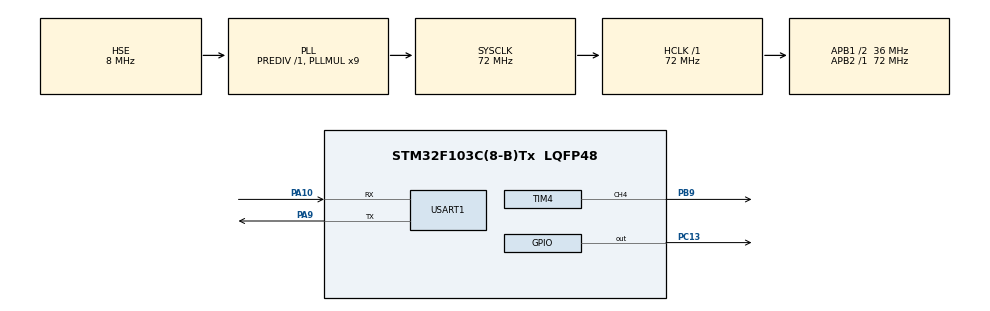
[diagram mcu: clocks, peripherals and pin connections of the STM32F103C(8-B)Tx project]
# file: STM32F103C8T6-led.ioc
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Mcu.Family=STM32F1
Mcu.Name=STM32F103C(8-B)Tx
Mcu.Package=LQFP48
NVIC.PriorityGroup=NVIC_PRIORITYGROUP_4
NVIC.USART1_IRQn=true\:0\:0\:false\:false\:true\:true\:true\:true
PA10.Mode=Asynchronous
PA10.Signal=USART1_RX
PA13.Mode=Serial_Wire
PA13.Signal=SYS_JTMS-SWDIO
PA14.Mode=Serial_Wire
PA14.Signal=SYS_JTCK-SWCLK
PA9.Mode=Asynchronous
PA9.Signal=USART1_TX
PB9.Signal=S_TIM4_CH4
PC13-TAMPER-RTC.GPIO_Speed=GPIO_SPEED_FREQ_MEDIUM
PC13-TAMPER-RTC.PinState=GPIO_PIN_SET
PC13-TAMPER-RTC.Signal=GPIO_Output
PD0-OSC_IN.Mode=HSE-External-Oscillator
PD0-OSC_IN.Signal=RCC_OSC_IN
PD1-OSC_OUT.Mode=HSE-External-Oscillator
PD1-OSC_OUT.Signal=RCC_OSC_OUT
ProjectManager.HeapSize=0x200
ProjectManager.StackSize=0x400
ProjectManager.TargetToolchain=MDK-ARM V5.32
RCC.AHBFreq_Value=72000000
RCC.APB1CLKDivider=RCC_HCLK_DIV2
RCC.APB1Freq_Value=36000000
RCC.APB1TimFreq_Value=72000000
RCC.APB2Freq_Value=72000000
RCC.APB2TimFreq_Value=72000000
RCC.HCLKFreq_Value=72000000
RCC.PLLMUL=RCC_PLL_MUL9
RCC.PLLSourceVirtual=RCC_PLLSOURCE_HSE
RCC.SYSCLKFreq_VALUE=72000000
RCC.SYSCLKSource=RCC_SYSCLKSOURCE_PLLCLK
RCC.USBFreq_Value=72000000
SH.S_TIM4_CH4.0=TIM4_CH4,PWM Generation4 CH4
TIM4.Channel-PWM\ Generation4\ CH4=TIM_CHANNEL_4
TIM4.Period=19999
TIM4.Prescaler=71
TIM4.Pulse-PWM\ Generation4\ CH4=1500
USART1.VirtualMode=VM_ASYNC
board=custom

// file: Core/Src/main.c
/* USER CODE BEGIN Header */
/**
  ******************************************************************************
  * @file           : main.c
  * @brief          : Main program body
  ******************************************************************************
  * @attention
  *
  * Copyright (c) 2026 STMicroelectronics.
  * All rights reserved.
  *
  * This software is licensed under terms that can be found in the LICENSE file
  * in the root directory of this software component.
  * If no LICENSE file comes with this software, it is provided AS-IS.
  *
  ******************************************************************************
  */
/* USER CODE END Header */
#include "main.h"
#include "tim.h"
#include "usart.h"
#include "gpio.h"

/* USER CODE BEGIN Includes */
   #include <string.h>
	 #include <stdlib.h>
/* USER CODE END Includes */

/* USER CODE BEGIN PV */
   uint8_t rx_byte;
   uint8_t rx_buf[32];
   uint8_t rx_index = 0;

	 volatile uint8_t servo_rotate = 0;
   int current_angle = 90;
/* USER CODE END PV */

void SystemClock_Config(void);

int main(void)
{

  /* MCU Configuration--------------------------------------------------------*/

  /* Reset of all peripherals, Initializes the Flash interface and the Systick. */
  HAL_Init();

  /* Configure the system clock */
  SystemClock_Config();

  /* Initialize all configured peripherals */
  MX_GPIO_Init();
  MX_USART1_UART_Init();
  MX_TIM4_Init();
  /* USER CODE BEGIN 2 */
     HAL_UART_Receive_IT(&huart1, &rx_byte, 1);
		 HAL_TIM_PWM_Start(&htim4, TIM_CHANNEL_4);
  /* USER CODE END 2 */

  /* Infinite loop */
  while (1)
  {

    /* USER CODE BEGIN 3 */
  if (servo_rotate == 1)
{
    current_angle += 5;
    if (current_angle > 180) current_angle = 180;
    uint16_t ccr = 500 + (current_angle * 2000 / 180);
    __HAL_TIM_SET_COMPARE(&htim4, TIM_CHANNEL_4, ccr);
    HAL_Delay(50);
}
else if (servo_rotate == 2)
{
    current_angle -= 5;
    if (current_angle < 0) current_angle = 0;
    uint16_t ccr = 500 + (current_angle * 2000 / 180);
    __HAL_TIM_SET_COMPARE(&htim4, TIM_CHANNEL_4, ccr);
    HAL_Delay(50);
}

	}
  /* USER CODE END 3 */
}

void SystemClock_Config(void)
{
  RCC_OscInitTypeDef RCC_OscInitStruct = {0};
  RCC_ClkInitTypeDef RCC_ClkInitStruct = {0};

  /** Initializes the RCC Oscillators according to the specified parameters
  * in the RCC_OscInitTypeDef structure.
  */
  RCC_OscInitStruct.OscillatorType = RCC_OSCILLATORTYPE_HSE;
  RCC_OscInitStruct.HSEState = RCC_HSE_ON;
  RCC_OscInitStruct.HSEPredivValue = RCC_HSE_PREDIV_DIV1;
  RCC_OscInitStruct.HSIState = RCC_HSI_ON;
  RCC_OscInitStruct.PLL.PLLState = RCC_PLL_ON;
  RCC_OscInitStruct.PLL.PLLSource = RCC_PLLSOURCE_HSE;
  RCC_OscInitStruct.PLL.PLLMUL = RCC_PLL_MUL9;
  if (HAL_RCC_OscConfig(&RCC_OscInitStruct) != HAL_OK)
  {
    Error_Handler();
  }

  /** Initializes the CPU, AHB and APB buses clocks
  */
  RCC_ClkInitStruct.ClockType = RCC_CLOCKTYPE_HCLK|RCC_CLOCKTYPE_SYSCLK
                              |RCC_CLOCKTYPE_PCLK1|RCC_CLOCKTYPE_PCLK2;
  RCC_ClkInitStruct.SYSCLKSource = RCC_SYSCLKSOURCE_PLLCLK;
  RCC_ClkInitStruct.AHBCLKDivider = RCC_SYSCLK_DIV1;
  RCC_ClkInitStruct.APB1CLKDivider = RCC_HCLK_DIV2;
  RCC_ClkInitStruct.APB2CLKDivider = RCC_HCLK_DIV1;

  if (HAL_RCC_ClockConfig(&RCC_ClkInitStruct, FLASH_LATENCY_2) != HAL_OK)
  {
    Error_Handler();
  }
}

/* USER CODE BEGIN 4 */
   void HAL_UART_RxCpltCallback(UART_HandleTypeDef *huart)
{
    if (huart->Instance == USART1)
    {
        if (rx_byte == '\n' || rx_byte == '\r')
        {
            rx_buf[rx_index] = '\0';

            if (strstr((char*)rx_buf, "LEDON") != NULL)
            {
                HAL_GPIO_WritePin(GPIOC, GPIO_PIN_13, GPIO_PIN_RESET); // ??
            }
            else if (strstr((char*)rx_buf, "LEDOFF") != NULL)
            {
                HAL_GPIO_WritePin(GPIOC, GPIO_PIN_13, GPIO_PIN_SET);   // ??
            }

            rx_index = 0;
            memset(rx_buf, 0, sizeof(rx_buf));
        }
        else
        {
            if (rx_index < sizeof(rx_buf) - 1)
            {
                rx_buf[rx_index++] = rx_byte;
            }
        }

			 if (rx_byte == 'A' || rx_byte == 'a')
            servo_rotate = 1;
        else if (rx_byte == 'D' || rx_byte == 'd')
            servo_rotate = 2;
        else if (rx_byte == 'S' || rx_byte == 's')
            servo_rotate = 0;

        HAL_UART_Receive_IT(&huart1, &rx_byte, 1);
    }
}
/* USER CODE END 4 */

void Error_Handler(void)
{
  __disable_irq();
  while (1)
  {
  }
}
